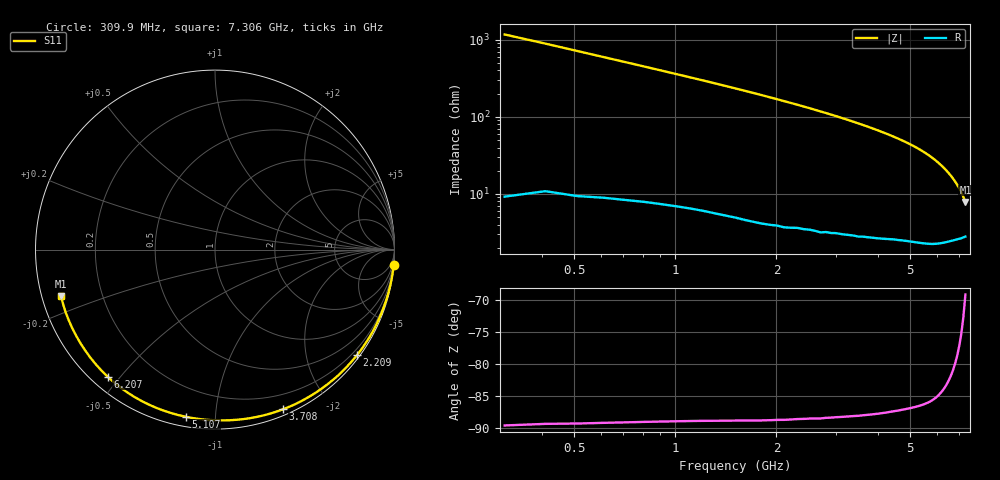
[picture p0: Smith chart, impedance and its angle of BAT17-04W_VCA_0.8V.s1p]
! Infineon Technologies  Discrete & RF Semiconductors
! BAT17-04W
! VCA = 0.8 V
! One-Port S-Parameters
# Hz  S  MA  R  50
!f  S11
!Hz  Mag  Ang
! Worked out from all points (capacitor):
!   71 points, 309.9 MHz to 7.306 GHz, reference 50 ohm
!   read as one part to ground: C = 436 fF near 309.9 MHz
!   lowest |Z| = 7.86 ohm at 7.306 GHz (marker M1)
!   S11 on the Smith chart (normalised r, x): 309.9 MHz: 0, -23; 2.209 GHz: 0.07, -3.03; 3.708 GHz: 0.06, -1.51; 5.107 GHz: 0.05, -0.84; 6.207 GHz: 0.05, -0.46; 7.306 GHz: 0.06, -0.15
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3.0985e8  0.9993 -4.9
7.0965e8  0.9969 -11.1
1.2094e9  0.9933 -19.1
1.50925e9  0.9914 -24.1
1.70915e9  0.9902 -27.6
2.10895e9  0.9869 -34.7
2.2089e9  0.9858 -36.6
2.6087e9  0.9814 -44.2
3.0085e9  0.9763 -52.1
3.4083e9  0.9712 -60.5
3.70815e9  0.967 -66.9
3.8081e9  0.9655 -69.2
4.10795e9  0.9609 -75.9
4.30785e9  0.9575 -80.5
4.50775e9  0.9542 -85.2
4.70765e9  0.9511 -89.9
4.90755e9  0.9483 -94.8
5.10745e9  0.9455 -99.9
5.4073e9  0.9416 -107.7
5.6072e9  0.9388 -113.1
5.8071e9  0.9356 -118.7
5.90705e9  0.9337 -121.5
6.2069e9  0.9268 -130.2
6.50675e9  0.9188 -139.1
6.70665e9  0.9133 -145.0
6.90655e9  0.9079 -151.0
7.10645e9  0.9027 -157.1
7.30635e9  0.8962 -163.2
